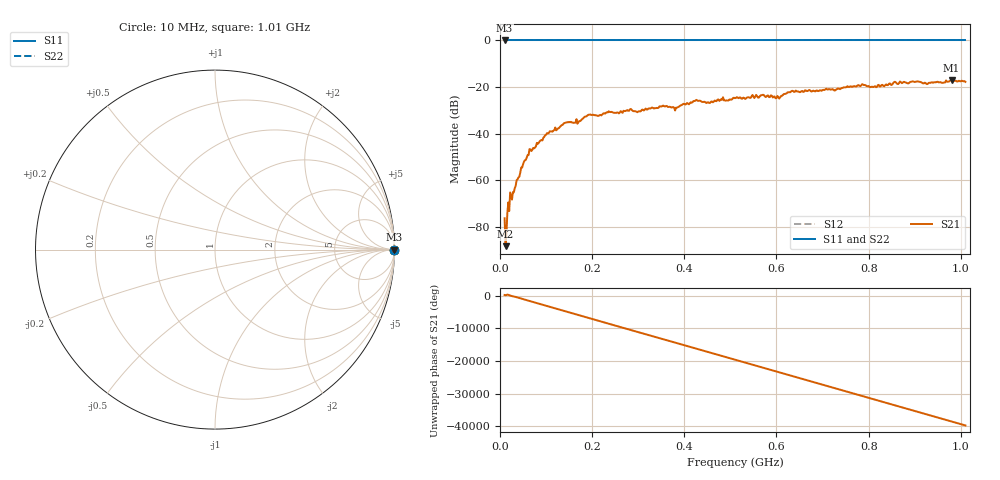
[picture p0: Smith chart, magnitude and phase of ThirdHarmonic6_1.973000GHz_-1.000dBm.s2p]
! 8/16/2025 11:44:10 PM
! C:\ANRITSUVNA\TEMP\TEMP.S2P
! CHANNEL.1
! TR.MEASUREMENT
! RAW.DATA
! RF.CORRECTION.OFF
! AVERAGING.OFF
! IF.BANDWIDTH: 5KHZ
! SWEEPTYPE:  FREQ.SWEEP(Linear)
! Reference Plane Port Info
! PORT:  PORT1  PORT2
! DISTANCE:  0  m  0  m
! TIME:  0  s  0  s
! PHASE.OFFSET:  0  deg.  0  deg.
! LOSS:  0  dB  0  dB
! REF.LOSS:  0  dB  0  dB
! REF.FREQ:  0  Hz  0  Hz
! Power Info
! POWER:  -20  dBm  -20  dBm
! EFF.POWER:  -20  dBm  -20  dBm
! SOURCE.ATTEN:  0  dB  0  dB
! TEST.ATTEN:  0  dB  0  dB
# GHZ S RI R 50.0
! FREQ.GHZ  S11RE  S11IM  S21RE  S21IM  S12RE  S12IM  S22RE  S22IM
!; PortSelection: Port_12
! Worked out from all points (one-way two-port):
!   501 points, 10 MHz to 1.01 GHz, reference 50 ohm
!   highest |S21| = -17.13 dB at 980 MHz (marker M1); lowest = -88.2 dB at 12 MHz (marker M2)
!   lowest |S11| = 0.0 dB at 10 MHz (marker M3)
!   |S11| at or under -10 dB: nowhere
!   |S22| runs from 0.0 to 0.0 dB; largest |S21 - S12| = 1.1
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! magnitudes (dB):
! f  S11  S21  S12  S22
! 10 MHz  0.0  -76.2  0.0  0.0
! 12 MHz  0.0  -88.2  0.0  0.0
! 16 MHz  0.0  -73.8  0.0  0.0
! 20 MHz  0.0  -73.1  0.0  0.0
! 26 MHz  0.0  -68.2  0.0  0.0
! 50 MHz  0.0  -53.1  0.0  0.0
! 68 MHz  0.0  -47.4  0.0  0.0
! 106 MHz  0.0  -39.6  0.0  0.0
! 142 MHz  0.0  -35.2  0.0  0.0
! 178 MHz  0.0  -33.7  0.0  0.0
! 194 MHz  0.0  -31.8  0.0  0.0
! 344 MHz  0.0  -28.8  0.0  0.0
! 382 MHz  0.0  -28.8  0.0  0.0
! 424 MHz  0.0  -25.8  0.0  0.0
! 452 MHz  0.0  -26.5  0.0  0.0
! 510 MHz  0.0  -24.7  0.0  0.0
! 602 MHz  0.0  -23.8  0.0  0.0
! 632 MHz  0.0  -21.8  0.0  0.0
! 678 MHz  0.0  -21.7  0.0  0.0
! 844 MHz  0.0  -18.6  0.0  0.0
! 980 MHz  0.0  -17.1  0.0  0.0
! 1.01 GHz  0.0  -17.7  0.0  0.0
